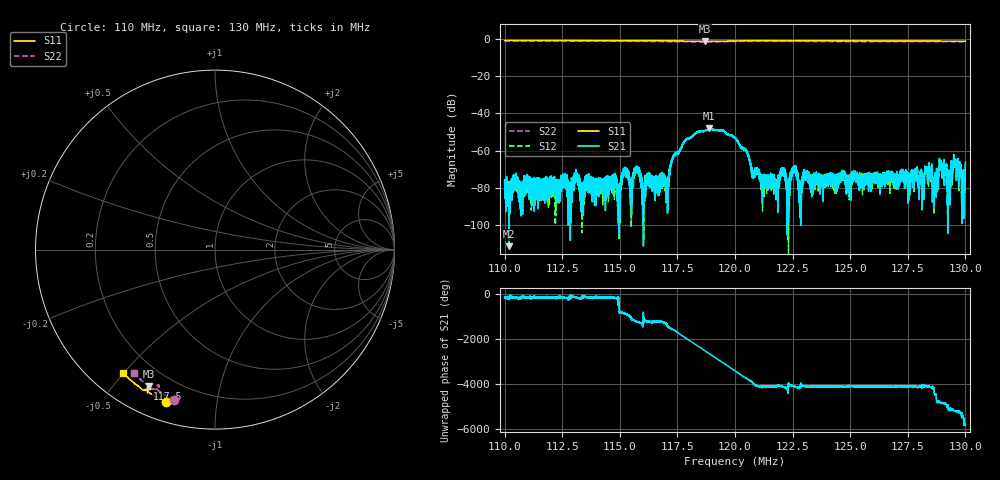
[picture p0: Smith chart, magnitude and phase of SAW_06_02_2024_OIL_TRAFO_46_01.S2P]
!Agilent Technologies,E5071C,MY46520923,B.12.03
!Date: Tue Feb 06 09:00:01 2024
!Data & Calibration Information:
!Freq	S11:SOLT2(ON)	S21:SOLT2(ON)	S12:SOLT2(ON)	S22:SOLT2(ON)
!PortZ  Port1:50+j0  Port2:50+j0
!Above PortZ is port z conversion or system Z0 setting when saving the data.
!When reading, reference impedance value at option line is always used.
# Hz S dB R 50
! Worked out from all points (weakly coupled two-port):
!   10000 points, 110 MHz to 130 MHz, reference 50 ohm
!   highest |S21| = -48.08 dB at 118.9 MHz (marker M1); lowest = -111.2 dB at 110.2 MHz (marker M2)
!   lowest |S11| = -1.5 dB at 118.7 MHz (marker M3), VSWR 11.89, Z = 5.85 - j31.1 ohm
!   |S11| at or under -10 dB: nowhere
!   |S22| runs from -1.7 to -1.3 dB; largest |S21 - S12| = 0.00018
!   S11 on the Smith chart (normalised r, x): 110 MHz: 0.09, -0.73; 117.5 MHz: 0.10, -0.62; 130 MHz: 0.10, -0.50
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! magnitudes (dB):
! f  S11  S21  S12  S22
! 110 MHz  -1.0  -76.3  -77.0  -1.3
! 110.2 MHz  -1.0  -111.2  -82.1  -1.3
! 113.3 MHz  -1.1  -80.7  -84.9  -1.3
! 115 MHz  -1.1  -84.9  -101.4  -1.4
! 115.3 MHz  -1.1  -70.5  -70.7  -1.4
! 115.5 MHz  -1.1  -82.9  -101.0  -1.4
! 115.7 MHz  -1.1  -68.8  -71.2  -1.4
! 116 MHz  -1.1  -111.2  -89.0  -1.4
! 116.7 MHz  -1.1  -79.0  -76.2  -1.4
! 117.1 MHz  -1.2  -79.1  -82.0  -1.5
! 117.5 MHz  -1.3  -61.4  -61.3  -1.6
! 118.7 MHz  -1.5  -49.3  -49.5  -1.7
! 118.9 MHz  -1.5  -48.1  -48.1  -1.7
! 120 MHz  -1.2  -53.3  -52.9  -1.5
! 121.2 MHz  -1.1  -75.2  -92.4  -1.4
! 122.1 MHz  -1.2  -70.3  -70.1  -1.5
! 122.3 MHz  -1.2  -82.2  -87.5  -1.5
! 122.6 MHz  -1.2  -70.3  -71.5  -1.5
! 122.8 MHz  -1.2  -92.1  -93.9  -1.5
! 123.3 MHz  -1.2  -78.8  -75.9  -1.5
! 126.7 MHz  -1.3  -73.4  -73.9  -1.6
! 130 MHz  -1.3  -66.3  -66.7  -1.7
